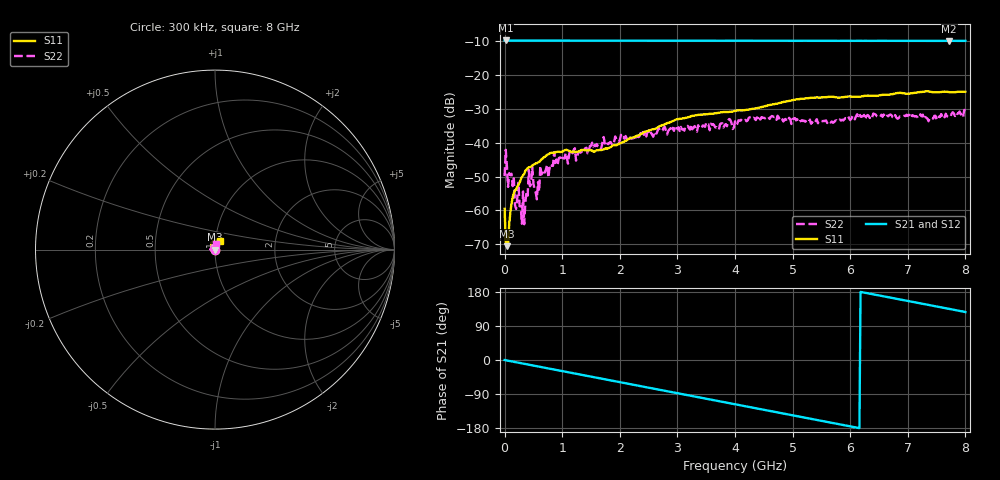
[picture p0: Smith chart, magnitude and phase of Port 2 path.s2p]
! RsaToolbox (C) 2015 Rohde & Schwarz America
! Number of points: 401
! Number of ports: 2
! Balanced ports?: No
# Hz S RI R 50
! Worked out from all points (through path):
!   401 points, 300 kHz to 8 GHz, reference 50 ohm
!   highest |S21| = -9.95 dB at 20.3 MHz (marker M1); lowest = -10.1 dB at 7.72 GHz (marker M2)
!   group delay of S21, straight-line fit = 81 ps
!   lowest |S11| = -70.5 dB at 40.3 MHz (marker M3), VSWR 1.00, Z = 50 + j0.0244 ohm
!   |S11| at or under -10 dB: start of sweep to end of sweep
!   |S22| runs from -64.1 to -30.4 dB; largest |S21 - S12| = 0
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300000  0.00105 -0.000108  0.3179 -0.000376  0.3179 -0.000376  -0.00269 -0.00176
2.029925e7  0.000171 0.000295  0.3179 -0.00372  0.3179 -0.00372  -0.00717 0.00311
4.02985e7  0.000171 0.000244  0.3174 -0.007  0.3174 -0.007  -0.00332 0.00303
6.029775e7  0.000304 -0.000106  0.3171 -0.0102  0.3171 -0.0102  -0.00125 0.00184
1.202955e8  0.000215 -0.00125  0.3163 -0.0199  0.3163 -0.0199  -0.00317 0.00141
1.60294e8  -0.000163 -0.0018  0.3157 -0.0263  0.3157 -0.0263  -0.00274 -0.00111
2.802895e8  -0.00122 -0.00257  0.3132 -0.0456  0.3132 -0.0456  -0.000845 -0.000786
3.002888e8  -0.00149 -0.00273  0.3127 -0.0488  0.3127 -0.0488  -0.000527 -0.000358
3.402872e8  -0.002 -0.00282  0.3116 -0.0551  0.3116 -0.0551  -0.000627 -2.14e-05
4.602828e8  -0.00303 -0.00325  0.3075 -0.0739  0.3075 -0.0739  -0.000494 -0.00237
5.60279e8  -0.00392 -0.00304  0.3033 -0.0896  0.3033 -0.0896  0.000534 -0.00136
6.602752e8  -0.00526 -0.00248  0.2984 -0.1049  0.2984 -0.1049  -0.00157 -0.00363
1.180256e9  -0.0073 -0.0003  0.2602 -0.1791  0.2602 -0.1791  -0.00137 -0.00681
1.34025e9  -0.00774 0.000761  0.2448 -0.1996  0.2448 -0.1996  -0.00296 -0.00673
1.800232e9  -0.00826 0.000462  0.1916 -0.251  0.1916 -0.251  -0.00675 -0.00662
2.6802e9  -0.0168 0.00386  0.0639 -0.3088  0.0639 -0.3088  -0.0129 -0.00981
4.00015e9  -0.02 0.0214  -0.1418 -0.2812  -0.1418 -0.2812  -0.0201 -0.00425
4.660125e9  -0.0218 0.0292  -0.2266 -0.2184  -0.2266 -0.2184  -0.0241 0.00147
5.3401e9  -0.016 0.0428  -0.2869 -0.1287  -0.2869 -0.1287  -0.0181 0.00826
6.68005e9  0.00236 0.0507  -0.3033 0.0806  -0.3033 0.0806  -0.0128 0.0219
7.72001e9  0.0249 0.0491  -0.2209 0.2219  -0.2209 0.2219  0.00234 0.0239
8e9  0.0305 0.0468  -0.1866 0.2515  -0.1866 0.2515  0.00401 0.0295
